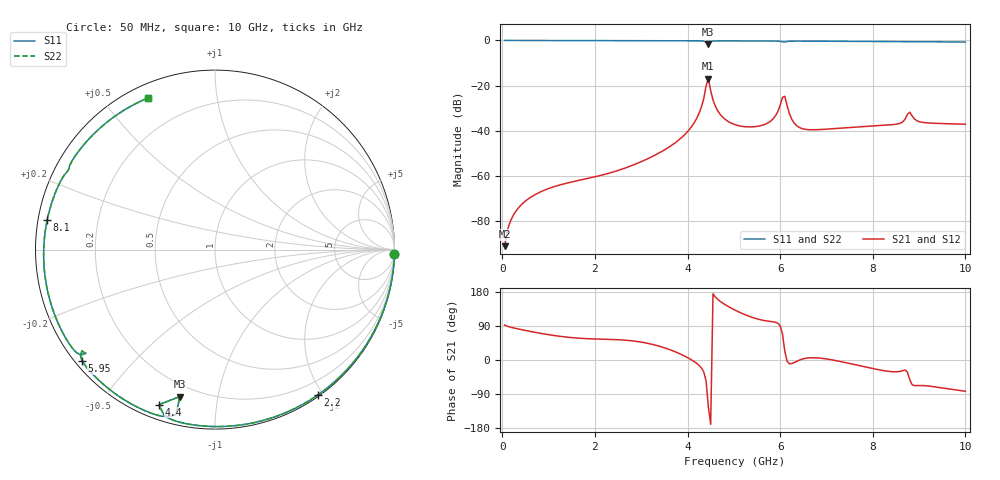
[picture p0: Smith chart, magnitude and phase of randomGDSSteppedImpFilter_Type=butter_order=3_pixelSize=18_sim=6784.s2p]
! freq	dB(S11)	phase(S11)	dB(S12)	phase(S12)
!  dB(S21)	phase(S21)	dB(S22)	phase(S22)
!S-par simulation data
#  GHz  S  DB  R 50
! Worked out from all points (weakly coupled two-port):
!   200 points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, 50 MHz to 10 GHz, reference 50 ohm
!   highest |S21| = -16.82 dB at 4.45 GHz (marker M1); lowest = -90.9 dB at 50 MHz (marker M2)
!   lowest |S11| = -1.5 dB at 4.45 GHz (marker M3), VSWR 11.67, Z = 6.92 - j39 ohm
!   |S11| at or under -10 dB: nowhere
!   |S22| runs from -1.5 to 0.0 dB; largest |S21 - S12| = 0
!   S11 on the Smith chart (normalised r, x): 50 MHz: 0, -90; 2.2 GHz: 0.02, -1.94; 4.4 GHz: 0.06, -0.70; 5.95 GHz: 0.02, -0.36; 8.1 GHz: 0.03, +0.09; 10 GHz: 0.06, +0.65
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0.05  -0.00 -1.3  -90.91 92.3  -90.91 92.3  -0.00 -1.3
0.75  -0.02 -19.0  -67.66 72.0  -67.66 72.0  -0.02 -19.0
1.75  -0.06 -43.8  -61.40 56.8  -61.40 56.8  -0.06 -43.8
2.2  -0.07 -54.6  -59.25 54.8  -59.25 54.8  -0.07 -54.6
3.4  -0.11 -82.9  -49.58 36.1  -49.58 36.1  -0.11 -82.9
4.1  -0.15 -99.3  -37.72 -0.7  -37.72 -0.7  -0.15 -99.3
4.3  -0.21 -105.0  -29.39 -21.0  -29.39 -21.0  -0.21 -105.0
4.4  -0.73 -109.9  -20.19 -55.0  -20.19 -55.0  -0.73 -109.9
4.45  -1.49 -103.4  -16.82 -123.6  -16.82 -123.6  -1.49 -103.5
4.55  -0.28 -105.8  -26.32 174.7  -26.32 174.7  -0.28 -105.8
4.65  -0.20 -109.2  -31.03 160.2  -31.03 160.2  -0.20 -109.2
5.05  -0.19 -119.0  -37.36 130.1  -37.36 130.1  -0.19 -119.0
5.65  -0.23 -132.6  -37.23 104.2  -37.23 104.2  -0.23 -132.7
5.95  -0.31 -140.1  -31.42 97.1  -31.42 97.1  -0.31 -140.1
6.1  -0.69 -141.2  -24.68 23.3  -24.68 23.3  -0.70 -141.3
6.3  -0.30 -146.1  -36.44 -7.0  -36.44 -7.0  -0.30 -146.1
6.7  -0.31 -155.7  -39.47 6.0  -39.47 6.0  -0.31 -155.7
8.1  -0.45 170.0  -37.63 -25.0  -37.63 -25.0  -0.45 170.0
8.35  -0.48 163.4  -37.32 -30.1  -37.32 -30.1  -0.48 163.3
8.8  -0.63 151.3  -31.72 -52.5  -31.72 -52.5  -0.63 151.3
9.05  -0.57 144.0  -36.11 -67.3  -36.11 -67.3  -0.57 143.9
10  -0.69 113.9  -36.99 -82.4  -36.99 -82.4  -0.69 113.8
